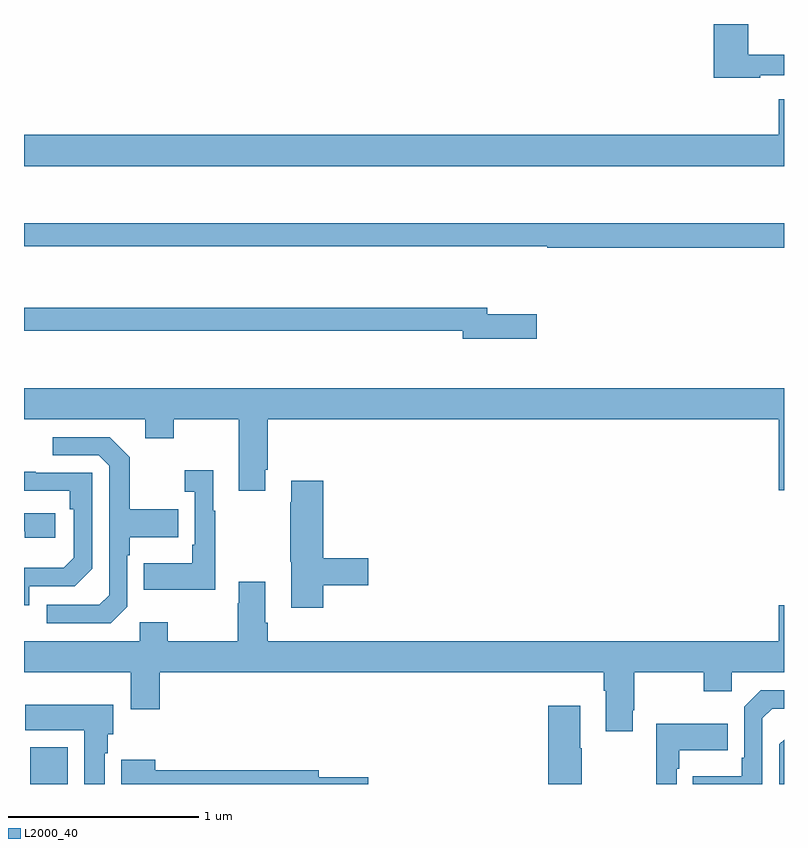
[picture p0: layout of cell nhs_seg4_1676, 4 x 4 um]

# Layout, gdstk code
import gdstk
lib = gdstk.Library(unit=1e-6, precision=1e-09)
def R(c, l, rs):  # rectangles x0, y0, x1, y1
    for r in rs: c.add(gdstk.rectangle(r[:2], r[2:], *l))
def P(c, l, *ps):  # polygons
    for p in ps: c.add(gdstk.Polygon(p, *l))
L2000_40 = (2000, 40)

nhs_seg4_1676 = lib.new_cell('nhs_seg4_1676')
R(nhs_seg4_1676, L2000_40, [(197.033,794.9,197.23,795.094)])
P(nhs_seg4_1676, L2000_40, [(200.876,798.63),(201,798.63),(201,798.739),(200.813,798.739),(200.813,798.9),(200.63,798.9),(200.63,798.618),(200.876,798.618)],
  [(201,798.505),(200.972,798.505),(200.972,798.316),(197,798.316),(197,798.152),(201,798.152)],
  [(201,797.851),(197,797.851),(197,797.73),(199.755,797.73),(199.755,797.722),(201,797.722)],
  [(199.699,797.373),(199.438,797.373),(199.438,797.407),(197,797.407),(197,797.286),(199.31,797.286),(199.31,797.243),(199.699,797.243)],
  [(198.271,796.555),(198.284,796.555),(198.284,796.82),(200.972,796.82),(200.972,796.446),(201,796.446),(201,796.984),(197,796.984),(197,796.82),(197.639,796.82),(197.639,796.721),(197.787,796.721),(197.787,796.82),(198.131,796.82),(198.131,796.443),(198.271,796.443)],
  [(197.544,795.834),(197.544,796.103),(197.557,796.103),(197.557,796.199),(197.813,796.199),(197.813,796.347),(197.557,796.347),(197.557,796.619),(197.451,796.725),(197.151,796.725),(197.151,796.629),(197.394,796.629),(197.448,796.575),(197.448,795.894),(197.397,795.843),(197.121,795.843),(197.121,795.747),(197.457,795.747)],
  [(198.007,796.339),(197.995,796.339),(197.995,796.552),(197.847,796.552),(197.847,796.439),(197.898,796.439),(197.898,796.159),(197.886,796.159),(197.886,796.063),(197.629,796.063),(197.629,795.923),(198.007,795.923)],
  [(197.028,795.942),(197.268,795.942),(197.358,796.032),(197.358,796.539),(197.063,796.539),(197.063,796.544),(197,796.544),(197,796.443),(197.242,796.443),(197.242,796.346),(197.262,796.346),(197.262,796.092),(197.209,796.039),(197,796.039),(197,795.84),(197.028,795.84)],
  [(198.575,795.946),(198.811,795.946),(198.811,796.088),(198.575,796.088),(198.575,796.495),(198.407,796.495),(198.407,796.382),(198.4,796.382),(198.4,796.071),(198.407,796.071),(198.407,795.828),(198.575,795.828)],
  [(197.164,796.326),(197,796.326),(197,796.23),(197.003,796.23),(197.003,796.196),(197.164,796.196)],
  [(200.203,795.289),(200.211,795.289),(200.211,795.488),(200.578,795.488),(200.578,795.389),(200.724,795.389),(200.724,795.488),(201,795.488),(201,795.841),(200.972,795.841),(200.972,795.652),(198.284,795.652),(198.284,795.748),(198.271,795.748),(198.271,795.964),(198.131,795.964),(198.131,795.851),(198.124,795.851),(198.124,795.652),(197.757,795.652),(197.757,795.751),(197.61,795.751),(197.61,795.652),(197,795.652),(197,795.488),(197.561,795.488),(197.561,795.294),(197.714,795.294),(197.714,795.488),(200.051,795.488),(200.051,795.392),(200.063,795.392),(200.063,795.177),(200.203,795.177)],
  [(200.886,795.246),(200.937,795.297),(201,795.297),(201,795.393),(200.877,795.393),(200.79,795.306),(200.79,795.037),(200.778,795.037),(200.778,794.941),(200.521,794.941),(200.521,794.9),(200.886,794.9)],
  [(197.425,795.062),(197.44,795.062),(197.44,795.162),(197.47,795.162),(197.47,795.316),(197.006,795.316),(197.006,795.182),(197.318,795.182),(197.318,794.9),(197.425,794.9)],
  [(199.935,795.089),(199.927,795.089),(199.927,795.313),(199.76,795.313),(199.76,794.9),(199.935,794.9)],
  [(200.436,794.981),(200.449,794.981),(200.449,795.077),(200.705,795.077),(200.705,795.217),(200.328,795.217),(200.328,794.9),(200.436,794.9)],
  [(201,795.132),(200.976,795.108),(200.976,794.9),(201,794.9)],
  [(198.811,794.936),(198.55,794.936),(198.55,794.972),(197.692,794.972),(197.692,795.028),(197.513,795.028),(197.513,794.9),(198.811,794.9)])

lib.write_gds('nhs_seg4_1676.gds')
